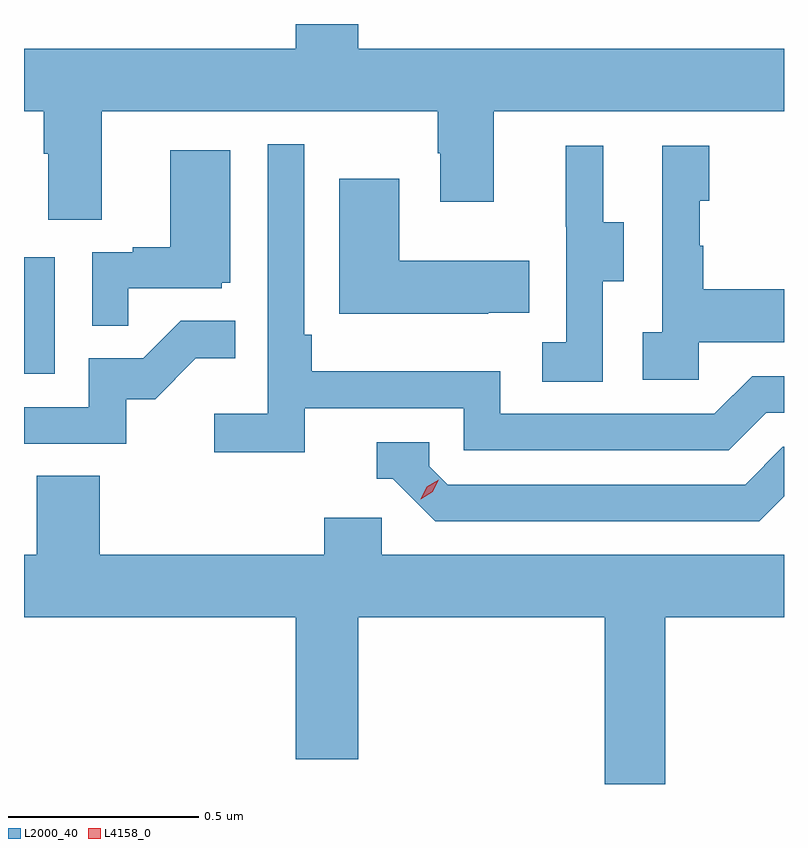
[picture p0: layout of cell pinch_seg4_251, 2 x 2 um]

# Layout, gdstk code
import gdstk
lib = gdstk.Library(unit=1e-6, precision=1e-09)
def R(c, l, rs):  # rectangles x0, y0, x1, y1
    for r in rs: c.add(gdstk.rectangle(r[:2], r[2:], *l))
def P(c, l, *ps):  # polygons
    for p in ps: c.add(gdstk.Polygon(p, *l))
L2000_40 = (2000, 40)
L4158_0 = (4158, 0)

pinch_seg4_251 = lib.new_cell('pinch_seg4_251')
R(pinch_seg4_251, L2000_40, [(895.561,829.428,895.642,829.735)])
P(pinch_seg4_251, L2000_40, [(896.44,830.349),(896.276,830.349),(896.276,830.284),(895.561,830.284),(895.561,830.12),(895.613,830.12),(895.613,830.008),(895.625,830.008),(895.625,829.834),(895.765,829.834),(895.765,830.12),(896.65,830.12),(896.65,830.009),(896.657,830.009),(896.657,829.881),(896.797,829.881),(896.797,830.12),(897.561,830.12),(897.561,830.284),(896.44,830.284)],
  [(896.3,829.338),(896.718,829.338),(896.718,829.227),(897.415,829.227),(897.514,829.326),(897.561,829.326),(897.561,829.422),(897.477,829.422),(897.378,829.323),(896.814,829.323),(896.814,829.435),(896.318,829.435),(896.318,829.531),(896.298,829.531),(896.298,830.032),(896.202,830.032),(896.202,829.324),(896.061,829.324),(896.061,829.222),(896.3,829.222)],
  [(897.336,829.511),(897.561,829.511),(897.561,829.651),(897.349,829.651),(897.349,829.766),(897.339,829.766),(897.339,829.884),(897.364,829.884),(897.364,830.029),(897.24,830.029),(897.24,829.538),(897.189,829.538),(897.189,829.413),(897.336,829.413)],
  [(897.084,829.672),(897.139,829.672),(897.139,829.827),(897.085,829.827),(897.085,830.029),(896.987,830.029),(896.987,829.815),(896.988,829.815),(896.988,829.511),(896.925,829.511),(896.925,829.408),(897.084,829.408)],
  [(895.835,829.653),(896.082,829.653),(896.082,829.668),(896.104,829.668),(896.104,830.017),(895.946,830.017),(895.946,829.762),(895.847,829.762),(895.847,829.749),(895.74,829.749),(895.74,829.555),(895.835,829.555)],
  [(896.783,829.589),(896.891,829.589),(896.891,829.726),(896.548,829.726),(896.548,829.942),(896.39,829.942),(896.39,829.586),(896.783,829.586)],
  [(895.83,829.362),(895.906,829.362),(896.013,829.469),(896.117,829.469),(896.117,829.568),(895.973,829.568),(895.875,829.47),(895.731,829.47),(895.731,829.341),(895.561,829.341),(895.561,829.245),(895.83,829.245)],
  [(897.561,829.106),(897.561,829.236),(897.558,829.236),(897.459,829.137),(896.676,829.137),(896.628,829.185),(896.628,829.248),(896.489,829.248),(896.489,829.152),(896.532,829.152),(896.643,829.041),(897.496,829.041)],
  [(897.249,828.788),(897.561,828.788),(897.561,828.952),(896.502,828.952),(896.502,829.05),(896.351,829.05),(896.351,828.952),(895.76,828.952),(895.76,829.16),(895.595,829.16),(895.595,828.952),(895.561,828.952),(895.561,828.788),(896.276,828.788),(896.276,828.414),(896.44,828.414),(896.44,828.788),(897.089,828.788),(897.089,828.349),(897.249,828.349)])
P(pinch_seg4_251, L4158_0, [(896.605,829.099),(896.605,829.099),(896.621,829.131),(896.652,829.15),(896.652,829.15),(896.652,829.15),(896.636,829.118),(896.605,829.099)])

lib.write_gds('pinch_seg4_251.gds')
